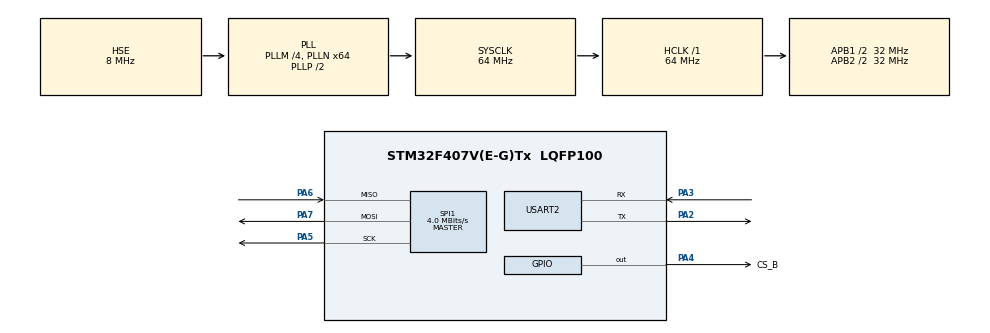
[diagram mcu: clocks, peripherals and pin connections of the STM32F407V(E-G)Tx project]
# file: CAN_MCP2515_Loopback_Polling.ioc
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Mcu.Family=STM32F4
Mcu.Name=STM32F407V(E-G)Tx
Mcu.Package=LQFP100
NVIC.PriorityGroup=NVIC_PRIORITYGROUP_0
PA13.Mode=Serial_Wire
PA13.Signal=SYS_JTMS-SWDIO
PA14.Mode=Serial_Wire
PA14.Signal=SYS_JTCK-SWCLK
PA2.Mode=Asynchronous
PA2.Signal=USART2_TX
PA3.Mode=Asynchronous
PA3.Signal=USART2_RX
PA4.GPIO_Label=CS_B
PA4.GPIO_Speed=GPIO_SPEED_FREQ_VERY_HIGH
PA4.PinState=GPIO_PIN_SET
PA4.Signal=GPIO_Output
PA5.Mode=Full_Duplex_Master
PA5.Signal=SPI1_SCK
PA6.Mode=Full_Duplex_Master
PA6.Signal=SPI1_MISO
PA7.Mode=Full_Duplex_Master
PA7.Signal=SPI1_MOSI
PH0-OSC_IN.Mode=HSE-External-Oscillator
PH0-OSC_IN.Signal=RCC_OSC_IN
PH1-OSC_OUT.Mode=HSE-External-Oscillator
PH1-OSC_OUT.Signal=RCC_OSC_OUT
ProjectManager.HeapSize=0x200
ProjectManager.StackSize=0x400
ProjectManager.TargetToolchain=STM32CubeIDE
RCC.48MHZClocksFreq_Value=18285714.285714287
RCC.AHBFreq_Value=64000000
RCC.APB1CLKDivider=RCC_HCLK_DIV2
RCC.APB1Freq_Value=32000000
RCC.APB1TimFreq_Value=64000000
RCC.APB2CLKDivider=RCC_HCLK_DIV2
RCC.APB2Freq_Value=32000000
RCC.APB2TimFreq_Value=64000000
RCC.CortexFreq_Value=64000000
RCC.HCLKFreq_Value=64000000
RCC.HSE_VALUE=8000000
RCC.HSI_VALUE=16000000
RCC.PLLM=4
RCC.PLLN=64
RCC.PLLQ=7
RCC.PLLSourceVirtual=RCC_PLLSOURCE_HSE
RCC.SYSCLKFreq_VALUE=64000000
RCC.SYSCLKSource=RCC_SYSCLKSOURCE_PLLCLK
RCC.VCOOutputFreq_Value=128000000
SPI1.BaudRatePrescaler=SPI_BAUDRATEPRESCALER_8
SPI1.CalculateBaudRate=4.0 MBits/s
SPI1.Direction=SPI_DIRECTION_2LINES
SPI1.Mode=SPI_MODE_MASTER
SPI1.VirtualType=VM_MASTER
USART2.VirtualMode=VM_ASYNC
board=STM32F407G-DISC1

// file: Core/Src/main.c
/* USER CODE BEGIN Header */
/**
  ******************************************************************************
  * @file           : main.c
  * @brief          : Main program body
  ******************************************************************************
  * @attention
  *
  * Copyright (c) 2026 STMicroelectronics.
  * All rights reserved.
  *
  * This software is licensed under terms that can be found in the LICENSE file
  * in the root directory of this software component.
  * If no LICENSE file comes with this software, it is provided AS-IS.
  *
  ******************************************************************************
  */
/* USER CODE END Header */
#include "main.h"

/* USER CODE BEGIN Includes */

#include "mcp2515.h"
#include "stdio.h"
#include "string.h"

/* USER CODE END Includes */

SPI_HandleTypeDef hspi1;

UART_HandleTypeDef huart2;

/* USER CODE BEGIN PV */

uint8_t txData[2];
uint16_t rxId;
uint8_t rxData[8];
uint8_t rxLen;

uint8_t eflg;
uint8_t mcpstatus;
uint8_t intf;
uint8_t rxStatus;
uint8_t tec;
uint8_t rec;
uint8_t RXB0;
uint8_t RXB1;

char msgMCP[100];
const uint8_t uart_msg[] = "UART_Initialized\r\n";

uint32_t spi_error;
HAL_SPI_StateTypeDef spi_state;

/* USER CODE END PV */

void SystemClock_Config(void);
static void MX_GPIO_Init(void);
static void MX_SPI1_Init(void);
static void MX_USART2_UART_Init(void);

int main(void)
{

  /* MCU Configuration--------------------------------------------------------*/

  /* Reset of all peripherals, Initializes the Flash interface and the Systick. */
  HAL_Init();

  /* Configure the system clock */
  SystemClock_Config();

  /* Initialize all configured peripherals */
  MX_GPIO_Init();
  MX_SPI1_Init();
  MX_USART2_UART_Init();
  /* USER CODE BEGIN 2 */

  HAL_UART_Transmit(&huart2, uart_msg, sizeof(uart_msg), HAL_MAX_DELAY);

  MCP2515_LoopbackInit();

  txData[0] = 0x55;
  txData[1] = 0xAA;

  /* USER CODE END 2 */

  /* Infinite loop */
  while (1)
  {

	MCP2515_Send(0x123, txData, 2);
	HAL_Delay(100);

	if(MCP2515_Receive(&rxId, rxData, &rxLen))
	{
	    sprintf(msgMCP,
	        "Loopback OK ID:0x%03X DLC:%d Data:%02X %02X\r\n",
	        rxId,
	        rxLen,
	        rxData[0],
	        rxData[1]);

	    HAL_UART_Transmit(&huart2,
	        (uint8_t*)msgMCP,
	        strlen(msgMCP),
	        100);
	}
	else
	{
	    sprintf(msgMCP,"Loopback FAILED\r\n");
	    HAL_UART_Transmit(&huart2,
	        (uint8_t*)msgMCP,
	        strlen(msgMCP),
	        100);
	}

	intf   = MCP2515_Read(CANINTF);
	eflg   = MCP2515_Read(EFLG);
	mcpstatus = MCP2515_Read(CANSTAT);
	rxStatus = MCP2515_ReadStatus();
	tec = MCP2515_Read(0x1C);
	rec = MCP2515_Read(0x1D);
	RXB0 = MCP2515_Read(0x61),
	RXB1 = MCP2515_Read(0x71);

	sprintf(msgMCP,
			"CANINTF:0x%02X EFLG:0x%02X CANSTAT:0x%02X RXSTATUS:0x%02X TEC:0x%02X REC:0x%02X RXB0:0x%02X RXB1:0x%02X\r\n",
			intf, eflg, mcpstatus, rxStatus, tec, rec, RXB0, RXB1);
	HAL_UART_Transmit(&huart2, (uint8_t*)msgMCP, strlen(msgMCP), 100);

  }
}

void SystemClock_Config(void)
{
  RCC_OscInitTypeDef RCC_OscInitStruct = {0};
  RCC_ClkInitTypeDef RCC_ClkInitStruct = {0};

  /** Configure the main internal regulator output voltage
  */
  __HAL_RCC_PWR_CLK_ENABLE();
  __HAL_PWR_VOLTAGESCALING_CONFIG(PWR_REGULATOR_VOLTAGE_SCALE1);

  /** Initializes the RCC Oscillators according to the specified parameters
  * in the RCC_OscInitTypeDef structure.
  */
  RCC_OscInitStruct.OscillatorType = RCC_OSCILLATORTYPE_HSE;
  RCC_OscInitStruct.HSEState = RCC_HSE_ON;
  RCC_OscInitStruct.PLL.PLLState = RCC_PLL_ON;
  RCC_OscInitStruct.PLL.PLLSource = RCC_PLLSOURCE_HSE;
  RCC_OscInitStruct.PLL.PLLM = 4;
  RCC_OscInitStruct.PLL.PLLN = 64;
  RCC_OscInitStruct.PLL.PLLP = RCC_PLLP_DIV2;
  RCC_OscInitStruct.PLL.PLLQ = 7;
  if (HAL_RCC_OscConfig(&RCC_OscInitStruct) != HAL_OK)
  {
    Error_Handler();
  }

  /** Initializes the CPU, AHB and APB buses clocks
  */
  RCC_ClkInitStruct.ClockType = RCC_CLOCKTYPE_HCLK|RCC_CLOCKTYPE_SYSCLK
                              |RCC_CLOCKTYPE_PCLK1|RCC_CLOCKTYPE_PCLK2;
  RCC_ClkInitStruct.SYSCLKSource = RCC_SYSCLKSOURCE_PLLCLK;
  RCC_ClkInitStruct.AHBCLKDivider = RCC_SYSCLK_DIV1;
  RCC_ClkInitStruct.APB1CLKDivider = RCC_HCLK_DIV2;
  RCC_ClkInitStruct.APB2CLKDivider = RCC_HCLK_DIV2;

  if (HAL_RCC_ClockConfig(&RCC_ClkInitStruct, FLASH_LATENCY_2) != HAL_OK)
  {
    Error_Handler();
  }
}

static void MX_SPI1_Init(void)
{

  /* SPI1 parameter configuration*/
  hspi1.Instance = SPI1;
  hspi1.Init.Mode = SPI_MODE_MASTER;
  hspi1.Init.Direction = SPI_DIRECTION_2LINES;
  hspi1.Init.DataSize = SPI_DATASIZE_8BIT;
  hspi1.Init.CLKPolarity = SPI_POLARITY_LOW;
  hspi1.Init.CLKPhase = SPI_PHASE_1EDGE;
  hspi1.Init.NSS = SPI_NSS_SOFT;
  hspi1.Init.BaudRatePrescaler = SPI_BAUDRATEPRESCALER_8;
  hspi1.Init.FirstBit = SPI_FIRSTBIT_MSB;
  hspi1.Init.TIMode = SPI_TIMODE_DISABLE;
  hspi1.Init.CRCCalculation = SPI_CRCCALCULATION_DISABLE;
  hspi1.Init.CRCPolynomial = 10;
  if (HAL_SPI_Init(&hspi1) != HAL_OK)
  {
    Error_Handler();
  }

}

static void MX_USART2_UART_Init(void)
{

  huart2.Instance = USART2;
  huart2.Init.BaudRate = 115200;
  huart2.Init.WordLength = UART_WORDLENGTH_8B;
  huart2.Init.StopBits = UART_STOPBITS_1;
  huart2.Init.Parity = UART_PARITY_NONE;
  huart2.Init.Mode = UART_MODE_TX_RX;
  huart2.Init.HwFlowCtl = UART_HWCONTROL_NONE;
  huart2.Init.OverSampling = UART_OVERSAMPLING_16;
  if (HAL_UART_Init(&huart2) != HAL_OK)
  {
    Error_Handler();
  }

}

static void MX_GPIO_Init(void)
{
  GPIO_InitTypeDef GPIO_InitStruct = {0};

  /* GPIO Ports Clock Enable */
  __HAL_RCC_GPIOH_CLK_ENABLE();
  __HAL_RCC_GPIOA_CLK_ENABLE();

  /*Configure GPIO pin Output Level */
  HAL_GPIO_WritePin(CS_B_GPIO_Port, CS_B_Pin, GPIO_PIN_SET);

  /*Configure GPIO pin : CS_B_Pin */
  GPIO_InitStruct.Pin = CS_B_Pin;
  GPIO_InitStruct.Mode = GPIO_MODE_OUTPUT_PP;
  GPIO_InitStruct.Pull = GPIO_NOPULL;
  GPIO_InitStruct.Speed = GPIO_SPEED_FREQ_VERY_HIGH;
  HAL_GPIO_Init(CS_B_GPIO_Port, &GPIO_InitStruct);

}

void Error_Handler(void)
{
  __disable_irq();
  while (1)
  {
  }
}
